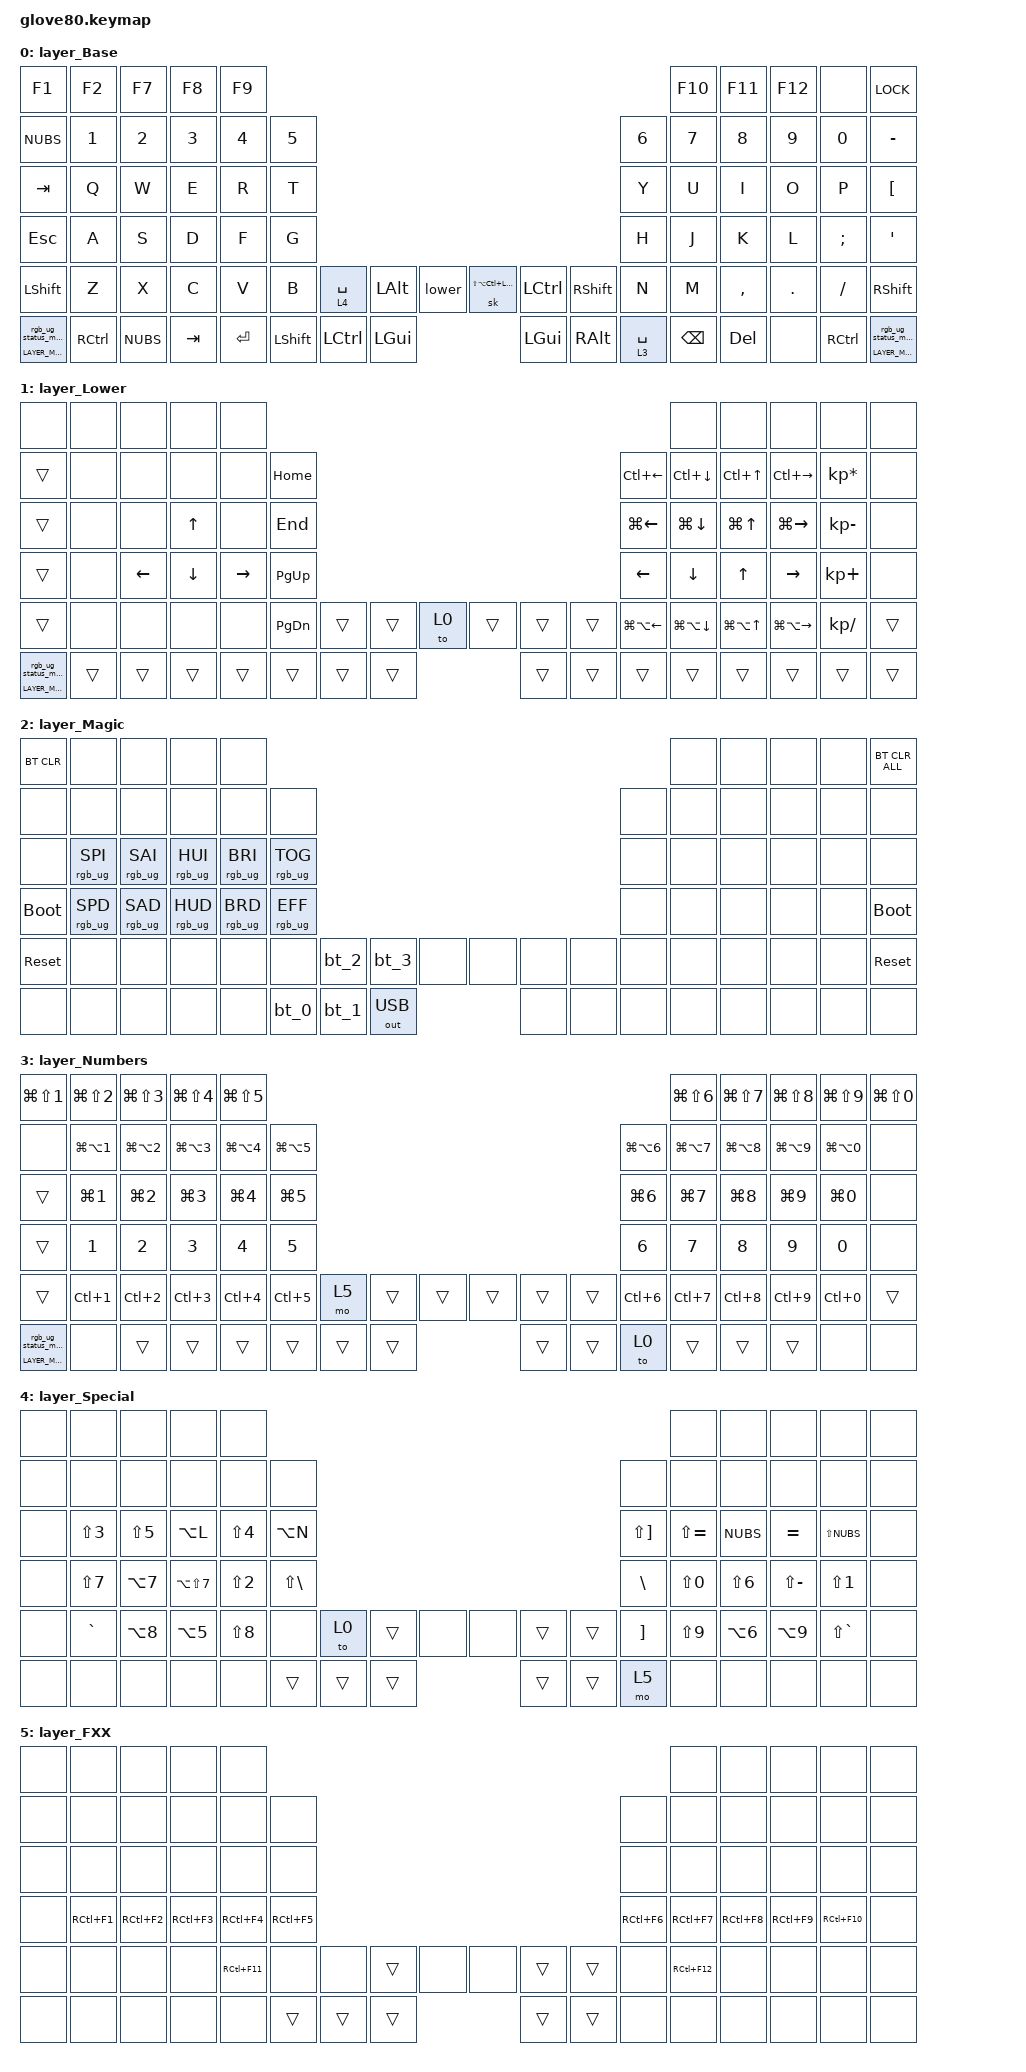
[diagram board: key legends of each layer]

/*
 * Copyright (c) 2020 The ZMK Contributors
 * Copyright (c) 2023 Innaworks Development Limited, trading as MoErgo
 *
 * SPDX-License-Identifier: MIT
 */


/* THIS FILE WAS GENERATED BY GLOVE80 LAYOUT EDITOR
 *
 * This file was generated automatically. You may or may not want to
 * edit it directly.
 */

#include <behaviors.dtsi>
/* Include all behaviour includes needed */
#include <dt-bindings/zmk/outputs.h>
#include <dt-bindings/zmk/keys.h>
#include <dt-bindings/zmk/bt.h>
#include <dt-bindings/zmk/rgb.h>

/* Automatically generated layer name #define */
#define LAYER_Base 0
#define LAYER_Lower 1
#define LAYER_Magic 2
#define LAYER_Numbers 3
#define LAYER_Special 4
#define LAYER_FXX 5

/* To deal with the situation where there is no Lower layer, to keep &lower happy */
#ifndef LAYER_Lower
#define LAYER_Lower 0
#endif

/* Custom Device-tree */



/* Glove80 system behavior & macros */
/ {
    behaviors {
        // For the "layer" key, it'd nice to be able to use it as either a shift or a toggle.
        // Configure it as a tap dance, so the first tap (or hold) is a &mo and the second tap is a &to
        lower: lower {
            compatible = "zmk,behavior-tap-dance";
            label = "LAYER_TAP_DANCE";
            #binding-cells = <0>;
            tapping-term-ms = <200>;
            bindings = <&mo LAYER_Lower>, <&to LAYER_Lower>;
        };
    };
};

/ {
    macros {
        rgb_ug_status_macro: rgb_ug_status_macro {
            label = "RGB_UG_STATUS";
            compatible = "zmk,behavior-macro";
            #binding-cells = <0>;
            bindings
                = <&rgb_ug RGB_STATUS>;
        };
    };
};


/ {
#ifdef BT_DISC_CMD
    behaviors {
        bt_0: bt_0 {
            compatible = "zmk,behavior-tap-dance";
            label = "BT_0";
            #binding-cells = <0>;
            tapping-term-ms = <200>;
            bindings = <&bt_select_0>, <&bt BT_DISC 0>;
        };
        bt_1: bt_1 {
            compatible = "zmk,behavior-tap-dance";
            label = "BT_1";
            #binding-cells = <0>;
            tapping-term-ms = <200>;
            bindings = <&bt_select_1>, <&bt BT_DISC 1>;
        };
        bt_2: bt_2 {
            compatible = "zmk,behavior-tap-dance";
            label = "BT_2";
            #binding-cells = <0>;
            tapping-term-ms = <200>;
            bindings = <&bt_select_2>, <&bt BT_DISC 2>;
        };
        bt_3: bt_3 {
            compatible = "zmk,behavior-tap-dance";
            label = "BT_3";
            #binding-cells = <0>;
            tapping-term-ms = <200>;
            bindings = <&bt_select_3>, <&bt BT_DISC 3>;
        };
    };
    macros {
        bt_select_0: bt_select_0 {
            label = "BT_SELECT_0";
            compatible = "zmk,behavior-macro";
            #binding-cells = <0>;
            bindings
                = <&out OUT_BLE>,
                  <&bt BT_SEL 0>;
        };
        bt_select_1: bt_select_1 {
            label = "BT_SELECT_1";
            compatible = "zmk,behavior-macro";
            #binding-cells = <0>;
            bindings
                = <&out OUT_BLE>,
                  <&bt BT_SEL 1>;
        };
        bt_select_2: bt_select_2 {
            label = "BT_SELECT_2";
            compatible = "zmk,behavior-macro";
            #binding-cells = <0>;
            bindings
                = <&out OUT_BLE>,
                  <&bt BT_SEL 2>;
        };
        bt_select_3: bt_select_3 {
            label = "BT_SELECT_3";
            compatible = "zmk,behavior-macro";
            #binding-cells = <0>;
            bindings
                = <&out OUT_BLE>,
                  <&bt BT_SEL 3>;
        };
    };
#else
    macros {
        bt_0: bt_0 {
            label = "BT_0";
            compatible = "zmk,behavior-macro";
            #binding-cells = <0>;
            bindings
                = <&out OUT_BLE>,
                  <&bt BT_SEL 0>;
        };
        bt_1: bt_1 {
            label = "BT_1";
            compatible = "zmk,behavior-macro";
            #binding-cells = <0>;
            bindings
                = <&out OUT_BLE>,
                  <&bt BT_SEL 1>;
        };
        bt_2: bt_2 {
            label = "BT_2";
            compatible = "zmk,behavior-macro";
            #binding-cells = <0>;
            bindings
                = <&out OUT_BLE>,
                  <&bt BT_SEL 2>;
        };
        bt_3: bt_3 {
            label = "BT_3";
            compatible = "zmk,behavior-macro";
            #binding-cells = <0>;
            bindings
                = <&out OUT_BLE>,
                  <&bt BT_SEL 3>;
        };
    };
#endif
};

/ {
    behaviors {
        magic: magic {
            compatible = "zmk,behavior-hold-tap";
            label = "MAGIC_HOLD_TAP";
            #binding-cells = <2>;
            flavor = "tap-preferred";
            tapping-term-ms = <200>;
            bindings = <&mo>, <&rgb_ug_status_macro>;
        };
    };
};

/* #define for key positions */
#define POS_LH_T1 52
#define POS_LH_T2 53
#define POS_LH_T3 54
#define POS_LH_T4 69
#define POS_LH_T5 70
#define POS_LH_T6 71
#define POS_LH_C1R2 15
#define POS_LH_C1R3 27
#define POS_LH_C1R4 39
#define POS_LH_C1R5 51
#define POS_LH_C2R1 4
#define POS_LH_C2R2 14
#define POS_LH_C2R3 26
#define POS_LH_C2R4 38
#define POS_LH_C2R5 50
#define POS_LH_C2R6 68
#define POS_LH_C3R1 3
#define POS_LH_C3R2 13
#define POS_LH_C3R3 25
#define POS_LH_C3R4 37
#define POS_LH_C3R5 49
#define POS_LH_C3R6 67
#define POS_LH_C4R1 2
#define POS_LH_C4R2 12
#define POS_LH_C4R3 24
#define POS_LH_C4R4 36
#define POS_LH_C4R5 48
#define POS_LH_C4R6 66
#define POS_LH_C5R1 1
#define POS_LH_C5R2 11
#define POS_LH_C5R3 23
#define POS_LH_C5R4 35
#define POS_LH_C5R5 47
#define POS_LH_C5R6 65
#define POS_LH_C6R1 0
#define POS_LH_C6R2 10
#define POS_LH_C6R3 22
#define POS_LH_C6R4 34
#define POS_LH_C6R5 46
#define POS_LH_C6R6 64
#define POS_RH_T1 57
#define POS_RH_T2 56
#define POS_RH_T3 55
#define POS_RH_T4 74
#define POS_RH_T5 73
#define POS_RH_T6 72
#define POS_RH_C1R2 16
#define POS_RH_C1R3 28
#define POS_RH_C1R4 40
#define POS_RH_C1R5 58
#define POS_RH_C2R1 5
#define POS_RH_C2R2 17
#define POS_RH_C2R3 29
#define POS_RH_C2R4 41
#define POS_RH_C2R5 59
#define POS_RH_C2R6 75
#define POS_RH_C3R1 6
#define POS_RH_C3R2 18
#define POS_RH_C3R3 30
#define POS_RH_C3R4 42
#define POS_RH_C3R5 60
#define POS_RH_C3R6 76
#define POS_RH_C4R1 7
#define POS_RH_C4R2 19
#define POS_RH_C4R3 31
#define POS_RH_C4R4 43
#define POS_RH_C4R5 61
#define POS_RH_C4R6 77
#define POS_RH_C5R1 8
#define POS_RH_C5R2 20
#define POS_RH_C5R3 32
#define POS_RH_C5R4 44
#define POS_RH_C5R5 62
#define POS_RH_C5R6 78
#define POS_RH_C6R1 9
#define POS_RH_C6R2 21
#define POS_RH_C6R3 33
#define POS_RH_C6R4 45
#define POS_RH_C6R5 63
#define POS_RH_C6R6 79

    /* Custom Defined Behaviors */
/ {

};

    /* Automatically generated keymap */
/ {
    keymap {
        compatible = "zmk,keymap";


        layer_Base {
            bindings = <
               &kp F1     &kp F2    &kp F7   &kp F8   &kp F9                                                                                                   &kp F10    &kp F11  &kp F12      &none            &kp K_LOCK
             &kp NUBS     &kp N1    &kp N2   &kp N3   &kp N4  &kp N5                                                                                  &kp N6    &kp N7     &kp N8   &kp N9     &kp N0             &kp MINUS
              &kp TAB      &kp Q     &kp W    &kp E    &kp R   &kp T                                                                                   &kp Y     &kp U      &kp I    &kp O      &kp P              &kp LBKT
              &kp ESC      &kp A     &kp S    &kp D    &kp F   &kp G                                                                                   &kp H     &kp J      &kp K    &kp L   &kp SEMI               &kp SQT
            &kp LSHFT      &kp Z     &kp X    &kp C    &kp V   &kp B  &lt 4 SPACE   &kp LALT    &lower  &sk LS(LA(LC(LGUI)))  &kp LCTRL    &kp RSHFT   &kp N     &kp M  &kp COMMA  &kp DOT   &kp FSLH             &kp RSHFT
 &magic LAYER_Magic 0  &kp RCTRL  &kp NUBS  &kp TAB  &kp RET            &kp LSHFT  &kp LCTRL  &kp LGUI              &kp LGUI   &kp RALT  &lt 3 SPACE          &kp BSPC    &kp DEL    &none  &kp RCTRL  &magic LAYER_Magic 0
            >;
        };

        layer_Lower {
            bindings = <
                &none   &none           &none           &none            &none                                                                                          &none           &none              &none            &none   &none
               &trans   &none           &none           &none            &none   &kp HOME                                                      &kp LC(LEFT)      &kp LC(DOWN)      &kp LC(UP)      &kp LC(RIGHT)  &kp KP_MULTIPLY   &none
               &trans   &none           &none    &kp UP_ARROW            &none    &kp END                                                      &kp LG(LEFT)      &kp LG(DOWN)      &kp LG(UP)      &kp LG(RIGHT)     &kp KP_MINUS   &none
               &trans   &none  &kp LEFT_ARROW  &kp DOWN_ARROW  &kp RIGHT_ARROW  &kp PG_UP                                                          &kp LEFT          &kp DOWN          &kp UP          &kp RIGHT      &kp KP_PLUS   &none
               &trans   &none           &none           &none            &none  &kp PG_DN  &trans  &trans   &to 0  &trans  &trans  &trans  &kp LG(LA(LEFT))  &kp LG(LA(DOWN))  &kp LG(LA(UP))  &kp LG(LA(RIGHT))     &kp KP_SLASH  &trans
 &magic LAYER_Magic 0  &trans          &trans          &trans           &trans             &trans  &trans  &trans  &trans  &trans  &trans                              &trans          &trans             &trans           &trans  &trans
            >;
        };

        layer_Magic {
            bindings = <
  &bt BT_CLR            &none            &none            &none            &none                                                                                  &none   &none   &none   &none  &bt BT_CLR_ALL
       &none            &none            &none            &none            &none            &none                                                         &none   &none   &none   &none   &none           &none
       &none  &rgb_ug RGB_SPI  &rgb_ug RGB_SAI  &rgb_ug RGB_HUI  &rgb_ug RGB_BRI  &rgb_ug RGB_TOG                                                         &none   &none   &none   &none   &none           &none
 &bootloader  &rgb_ug RGB_SPD  &rgb_ug RGB_SAD  &rgb_ug RGB_HUD  &rgb_ug RGB_BRD  &rgb_ug RGB_EFF                                                         &none   &none   &none   &none   &none     &bootloader
  &sys_reset            &none            &none            &none            &none            &none   &bt_2   &bt_3         &none   &none   &none   &none   &none   &none   &none   &none   &none      &sys_reset
       &none            &none            &none            &none            &none                    &bt_0   &bt_1  &out OUT_USB   &none   &none   &none           &none   &none   &none   &none           &none
            >;
        };

        layer_Numbers {
            bindings = <
       &kp LG(LS(N1))  &kp LG(LS(N2))  &kp LG(LS(N3))  &kp LG(LS(N4))  &kp LG(LS(N5))                                                                                  &kp LG(LS(N6))  &kp LG(LS(N7))  &kp LG(LS(N8))  &kp LG(LS(N9))  &kp LG(LS(N0))
                &none  &kp LG(LA(N1))  &kp LG(LA(N2))  &kp LG(LA(N3))  &kp LG(LA(N4))  &kp LG(LA(N5))                                                  &kp LG(LA(N6))  &kp LG(LA(N7))  &kp LG(LA(N8))  &kp LG(LA(N9))  &kp LG(LA(N0))           &none
               &trans      &kp LG(N1)      &kp LG(N2)      &kp LG(N3)      &kp LG(N4)      &kp LG(N5)                                                      &kp LG(N6)      &kp LG(N7)      &kp LG(N8)      &kp LG(N9)      &kp LG(N0)           &none
               &trans          &kp N1          &kp N2          &kp N3          &kp N4          &kp N5                                                          &kp N6          &kp N7          &kp N8          &kp N9          &kp N0           &none
               &trans      &kp LC(N1)      &kp LC(N2)      &kp LC(N3)      &kp LC(N4)      &kp LC(N5)   &mo 5  &trans  &trans  &trans  &trans  &trans      &kp LC(N6)      &kp LC(N7)      &kp LC(N8)      &kp LC(N9)      &kp LC(N0)          &trans
 &magic LAYER_Magic 0           &none          &trans          &trans          &trans                  &trans  &trans  &trans  &trans  &trans   &to 0                          &trans          &trans          &trans           &none           &none
            >;
        };

        layer_Special {
            bindings = <
  &none       &none       &none           &none       &none                                                                                      &none       &none          &none          &none   &none
  &none       &none       &none           &none       &none         &none                                                         &none          &none       &none          &none          &none   &none
  &none  &kp LS(N3)  &kp LS(N5)       &kp LA(L)  &kp LS(N4)     &kp LA(N)                                                  &kp LS(RBKT)  &kp LS(EQUAL)    &kp NUBS      &kp EQUAL   &kp LS(NUBS)   &none
  &none  &kp LS(N7)  &kp LA(N7)  &kp LA(LS(N7))  &kp LS(N2)  &kp LS(BSLH)                                                      &kp BSLH     &kp LS(N0)  &kp LS(N6)  &kp LS(MINUS)     &kp LS(N1)   &none
  &none   &kp GRAVE  &kp LA(N8)      &kp LA(N5)  &kp LS(N8)         &none   &to 0  &trans   &none   &none  &trans  &trans      &kp RBKT     &kp LS(N9)  &kp LA(N6)     &kp LA(N9)  &kp LS(GRAVE)   &none
  &none       &none       &none           &none       &none                &trans  &trans  &trans  &trans  &trans   &mo 5                        &none       &none          &none          &none   &none
            >;
        };

        layer_FXX {
            bindings = <
  &none       &none       &none       &none        &none                                                                                &none       &none       &none        &none   &none
  &none       &none       &none       &none        &none       &none                                                       &none        &none       &none       &none        &none   &none
  &none       &none       &none       &none        &none       &none                                                       &none        &none       &none       &none        &none   &none
  &none  &kp RC(F1)  &kp RC(F2)  &kp RC(F3)   &kp RC(F4)  &kp RC(F5)                                                  &kp RC(F6)   &kp RC(F7)  &kp RC(F8)  &kp RC(F9)  &kp RC(F10)   &none
  &none       &none       &none       &none  &kp RC(F11)       &none   &none  &trans   &none   &none  &trans  &trans       &none  &kp RC(F12)       &none       &none        &none   &none
  &none       &none       &none       &none        &none              &trans  &trans  &trans  &trans  &trans   &none                    &none       &none       &none        &none   &none
            >;
        };

    };
};
